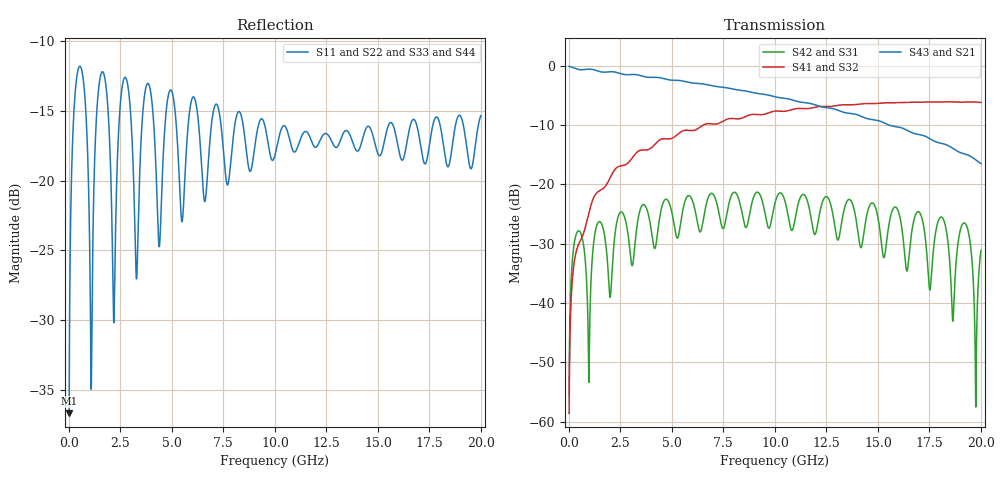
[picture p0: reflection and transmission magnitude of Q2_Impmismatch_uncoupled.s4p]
! Touchstone generated by fitter/viewer
# HZ S  RI R 5.000000e+001
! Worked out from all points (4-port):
!   2000 points, 10 MHz to 20 GHz, reference 50 ohm
!   strongest paths, dB at 10 MHz, 5.01 GHz, 10.01 GHz, 15.01 GHz, 20 GHz:
!     S43: -0.1, -2.5, -5.3, -9.2, -16.5
!     S21: -0.1, -2.5, -5.3, -9.2, -16.5
!     S41: -58.6, -12.2, -7.7, -6.4, -6.2
!     S32: -58.6, -12.2, -7.7, -6.4, -6.2
!     S42: -55.5, -24.9, -23.1, -25.7, -31.1
!     S31: -55.5, -24.9, -23.1, -25.7, -31.1
!   lowest |S11| = -36.7 dB at 10 MHz (marker M1), VSWR 1.03, Z = 51 + j1.09 ohm
!   |S11| at or under -10 dB: start of sweep to end of sweep
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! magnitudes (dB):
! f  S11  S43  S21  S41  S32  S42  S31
! 10 MHz  -36.7  -0.1  -0.1  -58.6  -58.6  -55.5  -55.5
! 500 MHz  -11.8  -0.7  -0.7  -29.9  -29.9  -27.9  -27.9
! 970 MHz  -21.5  -0.6  -0.6  -24.8  -24.8  -53.4  -53.4
! 1.39 GHz  -14.3  -0.9  -0.9  -21.3  -21.3  -26.6  -26.6
! 3.36 GHz  -23.5  -1.6  -1.6  -14.4  -14.4  -25.8  -25.8
! 19.75 GHz  -17.3  -15.9  -15.9  -6.1  -6.1  -57.5  -57.5
! 20 GHz  -15.4  -16.5  -16.5  -6.2  -6.2  -31.1  -31.1
